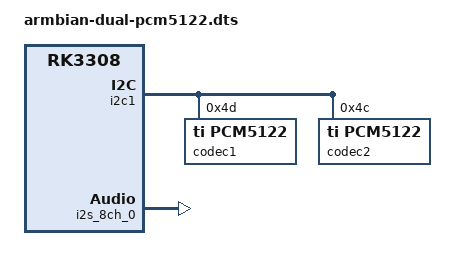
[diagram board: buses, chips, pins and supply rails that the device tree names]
/dts-v1/;
/plugin/;

/ {
        compatible = "radxa,rockpis", "rockchip,rk3308";

	fragment@0 {
		target = <&i2c1>;
		__overlay__ {
			#address-cells = <1>;
				#size-cells = <0>;
				status = "okay";

			codec1: pcm5122@4d {
				#sound-dai-cells = <0>;
				compatible = "ti,pcm5122";
				reg = <0x4d>;
				status = "okay";
			};

			codec2: pcm5122@4c {
				#sound-dai-cells = <0>;
				compatible = "ti,pcm5122";
				reg = <0x4c>;
				status = "okay";
			};
		};
	};

        fragment@1 {
                target = <&i2s_8ch_0>;
                __overlay__ {
                        #sound-dai-cells = <0>;
                        rockchip,bclk-fs = <64>;
                        status = "okay";
                        };
                };

        fragment@2 {
                target = <&i2s_8ch_2>;
                __overlay__ {
                        #sound-dai-cells = <0>;
                        status = "disabled";
                        };
                };

        fragment@3 {
                target-path = "/";
                __overlay__ {
                        pcm5102a {
                                status = "disabled";
                                };

		        sound {

			compatible = "simple-audio-card";
			simple-audio-card,format = "i2s";
			simple-audio-card,mclk-fs = <0x100>;
			simple-audio-card,name = "dac";

			simple-audio-card,dai-link@1 {
                        format = "i2s";

                        cpu {
                                sound-dai = <&i2s_8ch_0>;
                        };

                        codec {
                                sound-dai = <&codec1 &codec2>;
                        };
                };
        };
                };
       };
};
};
